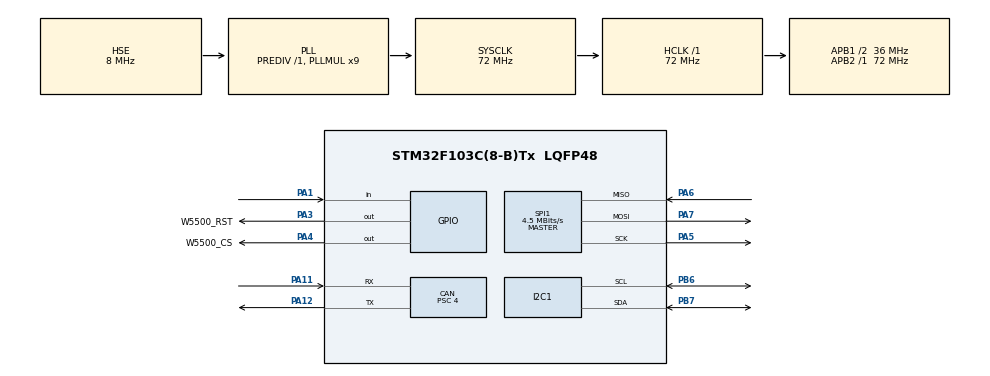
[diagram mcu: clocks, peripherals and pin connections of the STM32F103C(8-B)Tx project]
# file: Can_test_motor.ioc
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CAN.BS1=CAN_BS1_15TQ
CAN.BS2=CAN_BS2_2TQ
CAN.CalculateBaudRate=500000
CAN.CalculateTimeBit=2000
CAN.CalculateTimeQuantum=111.11111111111111
CAN.Prescaler=4
Dma.Request0=SPI1_RX
Dma.Request1=SPI1_TX
Dma.SPI1_RX.0.Direction=DMA_PERIPH_TO_MEMORY
Dma.SPI1_RX.0.Instance=DMA1_Channel2
Dma.SPI1_RX.0.MemDataAlignment=DMA_MDATAALIGN_BYTE
Dma.SPI1_RX.0.MemInc=DMA_MINC_ENABLE
Dma.SPI1_RX.0.Mode=DMA_NORMAL
Dma.SPI1_RX.0.PeriphDataAlignment=DMA_PDATAALIGN_BYTE
Dma.SPI1_RX.0.PeriphInc=DMA_PINC_DISABLE
Dma.SPI1_RX.0.Priority=DMA_PRIORITY_LOW
Dma.SPI1_TX.1.Direction=DMA_MEMORY_TO_PERIPH
Dma.SPI1_TX.1.Instance=DMA1_Channel3
Dma.SPI1_TX.1.MemDataAlignment=DMA_MDATAALIGN_BYTE
Dma.SPI1_TX.1.MemInc=DMA_MINC_ENABLE
Dma.SPI1_TX.1.Mode=DMA_NORMAL
Dma.SPI1_TX.1.PeriphDataAlignment=DMA_PDATAALIGN_BYTE
Dma.SPI1_TX.1.PeriphInc=DMA_PINC_DISABLE
Dma.SPI1_TX.1.Priority=DMA_PRIORITY_LOW
Mcu.Family=STM32F1
Mcu.Name=STM32F103C(8-B)Tx
Mcu.Package=LQFP48
NVIC.DMA1_Channel2_IRQn=true\:0\:0\:false\:false\:true\:false\:true\:true
NVIC.DMA1_Channel3_IRQn=true\:0\:0\:false\:false\:true\:false\:true\:true
NVIC.PriorityGroup=NVIC_PRIORITYGROUP_4
NVIC.USB_LP_CAN1_RX0_IRQn=true\:0\:0\:false\:false\:true\:true\:true\:true
PA1.GPIO_PuPd=GPIO_PULLUP
PA1.Signal=GPIO_Input
PA11.Mode=CAN_Activate
PA11.Signal=CAN_RX
PA12.Mode=CAN_Activate
PA12.Signal=CAN_TX
PA13.Mode=Serial_Wire
PA13.Signal=SYS_JTMS-SWDIO
PA14.Mode=Serial_Wire
PA14.Signal=SYS_JTCK-SWCLK
PA3.GPIO_Label=W5500_RST
PA3.Signal=GPIO_Output
PA4.GPIO_Label=W5500_CS
PA4.Signal=GPIO_Output
PA5.Mode=Full_Duplex_Master
PA5.Signal=SPI1_SCK
PA6.Mode=Full_Duplex_Master
PA6.Signal=SPI1_MISO
PA7.Mode=Full_Duplex_Master
PA7.Signal=SPI1_MOSI
PB6.Mode=I2C
PB6.Signal=I2C1_SCL
PB7.Mode=I2C
PB7.Signal=I2C1_SDA
PD0-OSC_IN.Mode=HSE-External-Oscillator
PD0-OSC_IN.Signal=RCC_OSC_IN
PD1-OSC_OUT.Mode=HSE-External-Oscillator
PD1-OSC_OUT.Signal=RCC_OSC_OUT
ProjectManager.HeapSize=0x200
ProjectManager.StackSize=0x400
ProjectManager.TargetToolchain=MDK-ARM V5.32
RCC.AHBFreq_Value=72000000
RCC.APB1CLKDivider=RCC_HCLK_DIV2
RCC.APB1Freq_Value=36000000
RCC.APB1TimFreq_Value=72000000
RCC.APB2Freq_Value=72000000
RCC.APB2TimFreq_Value=72000000
RCC.HCLKFreq_Value=72000000
RCC.PLLMUL=RCC_PLL_MUL9
RCC.PLLSourceVirtual=RCC_PLLSOURCE_HSE
RCC.SYSCLKFreq_VALUE=72000000
RCC.SYSCLKSource=RCC_SYSCLKSOURCE_PLLCLK
RCC.USBFreq_Value=72000000
SPI1.BaudRatePrescaler=SPI_BAUDRATEPRESCALER_16
SPI1.CalculateBaudRate=4.5 MBits/s
SPI1.Direction=SPI_DIRECTION_2LINES
SPI1.Mode=SPI_MODE_MASTER
SPI1.VirtualType=VM_MASTER
board=custom

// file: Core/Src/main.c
/* USER CODE BEGIN Header */
/**
  ******************************************************************************
  * @file           : main.c
  * @brief          : Chương trình chính STM32 + W5500 + ZLAC8015D CANopen Gateway
  ******************************************************************************
  * @attention
  *
  * Copyright (c) 2026 STMicroelectronics.
  * All rights reserved.
  *
  * This software is licensed under terms that can be found in the LICENSE file
  * in the root directory of this software component.
  * If no LICENSE file comes with this software, it is provided AS-IS.
  *
  ******************************************************************************
  */
/* USER CODE END Header */
#include "main.h"
#include "can.h"
#include "dma.h"
#include "i2c.h"
#include "spi.h"
#include "gpio.h"

/* USER CODE BEGIN Includes */
#include "zlac_can.h"       /* Driver giao tiếp động cơ ZLAC8015D qua CANopen */
#include "wizchip_conf.h"   /* Thư viện cấu hình chip mạng Ethernet WIZnet W5500 */
#include "socket.h"         /* API Socket UDP / TCP của WIZnet */
/* USER CODE END Includes */

/* USER CODE BEGIN PTD */

/* ============================================================================
 * CẤU TRÚC GÓI TIN MẠNG UDP (GIAO TIẾP VỚI MÁY TÍNH PC / ROS2)
 * ============================================================================ */
#pragma pack(push, 1)

/**
 * @brief Gói tin điều khiển vận tốc nhận từ máy tính (12 bytes)
 */
typedef struct {
    uint8_t  header[2];   /**< Header cố định: 0xAA, 0x55 */
    float    v;           /**< Vận tốc dài đặt cho robot (m/s) */
    float    omega;       /**< Vận tốc góc quay đặt cho robot (rad/s) */
    uint16_t checksum;    /**< Mã kiểm tra toàn vẹn dữ liệu CRC-16/MODBUS */
} UDP_ControlPacket_t;

/**
 * @brief Gói tin Telemetry trạng thái phản hồi về máy tính (22 bytes)
 */
typedef struct {
    uint8_t  header[2];   /**< Header cố định: 0x55, 0xAA */
    int16_t  vel_a;       /**< Vận tốc thực tế Motor A (rpm / 10) */
    int16_t  vel_b;       /**< Vận tốc thực tế Motor B (rpm / 10) */
    int32_t  pos_a;       /**< Vị trí xung Encoder Motor A */
    int32_t  pos_b;       /**< Vị trí xung Encoder Motor B */
    uint16_t error_code;  /**< Mã lỗi (0: Bình thường, 0xEEEE: Kẹt tải / Quá dòng) */
    int16_t  current_a;   /**< Dòng điện thực tế Motor A (đơn vị: 0.1A) */
    int16_t  current_b;   /**< Dòng điện thực tế Motor B (đơn vị: 0.1A) */
    uint16_t bus_voltage; /**< Điện áp DC Bus / Pin (đơn vị: 0.1V hoặc 0.01V) */
} UDP_FeedbackPacket_t;

#pragma pack(pop)

/* USER CODE END PTD */

/* USER CODE BEGIN PV */

/* ============================================================================
 * KHU VỰC 1: CÁC BIẾN QUẢN LÝ MẠNG ETHERNET W5500 & GIAO TIẾP UDP
 * ============================================================================ */
volatile uint8_t w5500_version     = 0;                /**< Phiên bản chip W5500 đọc từ thanh ghi */
uint8_t          udp_rx_buf[64];                       /**< Bộ đệm nhận UDP */
uint8_t          remote_ip[4]      = {192, 168, 1, 10}; /**< Địa chỉ IP máy tính nhận telemetry (PC / Ubuntu) */
uint16_t         remote_port       = 8888;              /**< Cổng UDP giao tiếp */
uint32_t         last_udp_rx_time  = 0;                /**< Mốc thời gian nhận gói UDP cuối (Watchdog an toàn) */
uint32_t         last_feedback_time = 0;               /**< Mốc thời gian gửi Telemetry định kỳ 50Hz (20ms) */

/* ============================================================================
 * KHU VỰC 2: CÁC BIẾN DỰ TRÙ MỞ RỘNG (GIỮ NGUYÊN)
 * ============================================================================ */
uint8_t  is_running        = 0;
uint8_t  btn_prev          = GPIO_PIN_SET; /**< Trạng thái nút nhấn chu kỳ trước (chân PA1) */
uint8_t  btn_now;                           /**< Trạng thái nút nhấn chu kỳ hiện tại */
uint8_t  mode_return       = 0;            /**< 0: Thả lỏng, 1: Chờ 1 giây, 2: Chạy về */
uint32_t stop_time         = 0;            /**< Đồng hồ bấm giờ */
uint8_t  is_motor_enabled  = 1;            /**< Nhớ trạng thái motor */
int32_t  anchor_pos_a      = 0;            /**< Mốc encoder A cho tính năng lò xo ảo */
int32_t  anchor_pos_b      = 0;            /**< Mốc encoder B cho tính năng lò xo ảo */
uint8_t  has_anchor        = 0;            /**< Cờ đã chốt mốc lò xo ảo */

/* USER CODE END PV */

void SystemClock_Config(void);
/* USER CODE BEGIN PFP */

/* Hàm tính toán kiểm tra toàn vẹn CRC-16 */
uint16_t Calculate_CRC16(const uint8_t *data, uint16_t length);

/* Các hàm callback điều khiển phần cứng W5500 qua SPI */
void    W5500_Select(void);
void    W5500_Deselect(void);
void    W5500_WriteByte(uint8_t byte);
uint8_t W5500_ReadByte(void);
void    W5500_ReadBurst(uint8_t* pBuf, uint16_t len);
void    W5500_WriteBurst(uint8_t* pBuf, uint16_t len);

/* USER CODE END PFP */

/* USER CODE BEGIN 0 */

/**
 * @brief Tính mã kiểm tra CRC-16/MODBUS (Đa thức 0xA001, Giá trị khởi tạo 0xFFFF)
 * @param data   Con trỏ mảng byte cần tính
 * @param length Độ dài mảng dữ liệu
 * @return uint16_t Giá trị CRC-16
 */
uint16_t Calculate_CRC16(const uint8_t *data, uint16_t length)
{
    uint16_t crc = 0xFFFF;
    for (uint16_t i = 0; i < length; i++)
    {
        crc ^= data[i];
        for (uint8_t j = 0; j < 8; j++)
        {
            if (crc & 0x0001)
                crc = (crc >> 1) ^ 0xA001;
            else
                crc = crc >> 1;
        }
    }
    return crc;
}

/* --- CÁC HÀM GIAO TIẾP PHẦN CỨNG SPI VỚI CHIP W5500 --- */

/** @brief Kéo chân CS xuống LOW để chọn chip W5500 */
void W5500_Select(void) {
    HAL_GPIO_WritePin(W5500_CS_GPIO_Port, W5500_CS_Pin, GPIO_PIN_RESET);
}

/** @brief Kéo chân CS lên HIGH để bỏ chọn chip W5500 */
void W5500_Deselect(void) {
    HAL_GPIO_WritePin(W5500_CS_GPIO_Port, W5500_CS_Pin, GPIO_PIN_SET);
}

/** @brief Gửi 1 byte qua SPI */
void W5500_WriteByte(uint8_t byte) {
    uint8_t rx_data;
    HAL_SPI_TransmitReceive(&hspi1, &byte, &rx_data, 1, HAL_MAX_DELAY);
}

/** @brief Đọc 1 byte từ W5500 qua SPI bằng cách phát 1 byte Dummy 0xFF */
uint8_t W5500_ReadByte(void) {
    uint8_t tx_data = 0xFF;
    uint8_t rx_data = 0;
    HAL_SPI_TransmitReceive(&hspi1, &tx_data, &rx_data, 1, HAL_MAX_DELAY);
    return rx_data;
}

/** @brief Đọc một chuỗi byte liên tục (Burst Read) */
void W5500_ReadBurst(uint8_t* pBuf, uint16_t len) {
    HAL_SPI_Receive(&hspi1, pBuf, len, 100);
}

/** @brief Ghi một chuỗi byte liên tục (Burst Write) */
void W5500_WriteBurst(uint8_t* pBuf, uint16_t len) {
    HAL_SPI_Transmit(&hspi1, pBuf, len, 100);
}

/* USER CODE END 0 */

int main(void)
{

  /* MCU Configuration--------------------------------------------------------*/

  /* Reset of all peripherals, Initializes the Flash interface and the Systick. */
  HAL_Init();

  /* Configure the system clock */
  SystemClock_Config();

  /* Initialize all configured peripherals */
  MX_GPIO_Init();
  MX_DMA_Init();
  MX_CAN_Init();
  MX_I2C1_Init();
  MX_SPI1_Init();

  /* USER CODE BEGIN 2 */

  /* ============================================================================
   * BƯỚC 1: KHỞI ĐỘNG PHẦN CỨNG MODULE ETHERNET W5500
   * ============================================================================ */
  HAL_GPIO_WritePin(W5500_CS_GPIO_Port, W5500_CS_Pin, GPIO_PIN_SET);
  HAL_GPIO_WritePin(W5500_RST_GPIO_Port, W5500_RST_Pin, GPIO_PIN_RESET);
  HAL_Delay(10);
  HAL_GPIO_WritePin(W5500_RST_GPIO_Port, W5500_RST_Pin, GPIO_PIN_SET);
  HAL_Delay(50); /* Chờ W5500 hoàn tất chu trình nạp nội bộ */

  /* ============================================================================
   * BƯỚC 2: ĐĂNG KÝ HÀM GIAO TIẾP SPI CHO THƯ VIỆN WIZNET
   * ============================================================================ */
  reg_wizchip_cs_cbfunc(W5500_Select, W5500_Deselect);
  reg_wizchip_spi_cbfunc(W5500_ReadByte, W5500_WriteByte);
  reg_wizchip_spiburst_cbfunc(W5500_ReadBurst, W5500_WriteBurst);

  /* ============================================================================
   * BƯỚC 3: CẤU HÌNH THÔNG SỐ MẠNG TĨNH CHO STM32 (IP: 192.168.1.100)
   * ============================================================================ */
  wiz_NetInfo net_info = {
      .mac  = {0x00, 0x08, 0xDC, 0x55, 0x66, 0x77}, /* Địa chỉ MAC */
      .ip   = {192, 168, 1, 100},                   /* Địa chỉ IP STM32 */
      .sn   = {255, 255, 255, 0},                   /* Subnet Mask */
      .gw   = {192, 168, 1, 1},                     /* Gateway */
      .dns  = {8, 8, 8, 8},                         /* DNS Server */
      .dhcp = NETINFO_STATIC                        /* Chế độ IP tĩnh */
  };
  wizchip_setnetinfo(&net_info);
  w5500_version = getVERSIONR();

  /* ============================================================================
   * BƯỚC 4: KHỞI TẠO SOCKET UDP (SOCKET 0, PORT 8888)
   * ============================================================================ */
  socket(0, Sn_MR_UDP, 8888, 0);

  /* ============================================================================
   * BƯỚC 5: KHỞI TẠO DRIVER GIAO TIẾP CANOPEN CHO ZLAC8015D
   * ============================================================================ */
  ZLAC_CAN_Init();

  /*
   * GHI CHÚ: Khối cấu hình CAN thủ công cũ trước đây:
   * Hiện tại toàn bộ quy trình cấu hình Node, chuyển Mode 3, và Enable Servo
   * đã được tự động hóa hoàn toàn và tin cậy trong ZLAC_StateMachine().
   *
   * // NMT_Send(1, 0x01);
   * // SDO_Write(1, 0x6060, 0x00, 3, 1);
   * // SDO_Write(1, 0x6040, 0x00, 0x0006, 2);
   * // SDO_Write(1, 0x6040, 0x00, 0x0007, 2);
   * // SDO_Write(1, 0x6040, 0x00, 0x000F, 2);
   */

  /* ============================================================================
   * BƯỚC 6: RESET TỌA ĐỘ ODOMETRY VỀ MỐC GỐC BAN ĐẦU
   * ============================================================================ */
  ZLAC_Odom_Reset();

  /* USER CODE END 2 */

  /* Infinite loop */
  while (1)
  {

    /* USER CODE BEGIN 3 */

    /* --------------------------------------------------------------------------
     * NHIỆM VỤ 1: STATE MACHINE QUẢN LÝ ĐỘNG CƠ & BẢO VỆ KẸT TẢI / QUÁ DÒNG
     * -------------------------------------------------------------------------- */
    ZLAC_StateMachine();

    /* --------------------------------------------------------------------------
     * NHIỆM VỤ 2: ĐỊNH KỲ 1 HZ (1 GIÂY) ĐỌC ĐIỆN ÁP DC BUS / PIN QUA SDO
     * -------------------------------------------------------------------------- */
    static uint32_t last_vbus_poll_time = 0;
    if (HAL_GetTick() - last_vbus_poll_time >= 1000)
    {
      last_vbus_poll_time = HAL_GetTick();
      if (ZLAC_IsReady())
      {
        SDO_Read_Request(ZLAC_NODE_ID, 0x2035, 0x00);
      }
    }

    /* --------------------------------------------------------------------------
     * NHIỆM VỤ 2.1: KIỂM TRA & TỰ PHỤC HỒI SOCKET UDP NẾU BỊ ĐÓNG (ETHERNET RECONNECT)
     * -------------------------------------------------------------------------- */
    static uint32_t last_sock_check_time = 0;
    if (HAL_GetTick() - last_sock_check_time >= 500)
    {
      last_sock_check_time = HAL_GetTick();
      if (getSn_SR(0) != SOCK_UDP)
      {
        close(0);
        socket(0, Sn_MR_UDP, 8888, 0);
      }
    }

    /* --------------------------------------------------------------------------
     * NHIỆM VỤ 3: KIỂM TRA & TIẾP NHẬN GÓI ĐIỀU KHIỂN UDP TỪ MÁY TÍNH
     * -------------------------------------------------------------------------- */
    uint16_t rx_len = getSn_RX_RSR(0);
    if (rx_len >= sizeof(UDP_ControlPacket_t))
    {
      UDP_ControlPacket_t cmd_pkt;
      /* Đọc gói tin từ W5500 */
      recvfrom(0, (uint8_t*)&cmd_pkt, sizeof(UDP_ControlPacket_t), remote_ip, &remote_port);

      /* Kiểm tra Header hợp lệ (0xAA 0x55) */
      if (cmd_pkt.header[0] == 0xAA && cmd_pkt.header[1] == 0x55)
      {
        /* Tính CRC16 của 10 bytes payload (Header + v + omega) */
        uint16_t expected_crc = Calculate_CRC16((uint8_t*)&cmd_pkt, 10);

        /* So khớp CRC */
        if (expected_crc == cmd_pkt.checksum)
        {
          last_udp_rx_time = HAL_GetTick(); /* Reset Watchdog an toàn */
          if (ZLAC_IsReady())
          {
            ZLAC_SetSpeed_mps(cmd_pkt.v, cmd_pkt.omega);
          }
        }
      }
    }

    /* --------------------------------------------------------------------------
     * NHIỆM VỤ 4: WATCHDOG AN TOÀN MẠNG (MẤT KẾT NỐI > 250MS -> PHANH DỪNG XE)
     * -------------------------------------------------------------------------- */
    if (HAL_GetTick() - last_udp_rx_time > 250)
    {
      ZLAC_Stop();
    }

    /* --------------------------------------------------------------------------
     * NHIỆM VỤ 5: ĐỊNH KỲ 50 HZ (20MS) GỬI TELEMETRY VÀ BẮN LỆNH SYNC (0x080)
     * -------------------------------------------------------------------------- */
    if (HAL_GetTick() - last_feedback_time >= 20)
    {
      /* Cập nhật mốc thời gian cố định (+20ms) để triệt tiêu sai số chu kỳ (jitter) */
      last_feedback_time += 20;
      if (HAL_GetTick() - last_feedback_time > 100) last_feedback_time = HAL_GetTick();

      /* 5.1 Gửi lệnh SYNC (CAN ID 0x080, DLC=0) đòi dữ liệu từ ZLAC8015D */
      extern CAN_HandleTypeDef hcan;
      CAN_TxHeaderTypeDef sync_hdr;
      uint32_t sync_mailbox;
      sync_hdr.StdId = 0x080;
      sync_hdr.ExtId = 0;
      sync_hdr.IDE   = CAN_ID_STD;
      sync_hdr.RTR   = CAN_RTR_DATA;
      sync_hdr.DLC   = 0;
      HAL_CAN_AddTxMessage(&hcan, &sync_hdr, NULL, &sync_mailbox);

      /* 5.2 Đóng gói 22 bytes Telemetry gửi về máy tính */
      UDP_FeedbackPacket_t fb_pkt;
      fb_pkt.header[0]   = 0x55;
      fb_pkt.header[1]   = 0xAA;
      fb_pkt.vel_a       = zlac_fb.vel_a;
      fb_pkt.vel_b       = zlac_fb.vel_b;
      fb_pkt.pos_a       = zlac_fb.pos_a;
      fb_pkt.pos_b       = zlac_fb.pos_b;
      fb_pkt.error_code  = zlac_fb.error_code;
      fb_pkt.current_a   = zlac_fb.current_a;
      fb_pkt.current_b   = zlac_fb.current_b;
      fb_pkt.bus_voltage = zlac_fb.bus_voltage;
      sendto(0, (uint8_t*)&fb_pkt, sizeof(UDP_FeedbackPacket_t), remote_ip, remote_port);
    }

    /* Nhường chu kỳ CPU */
    HAL_Delay(1);
  }
  /* USER CODE END 3 */
}

void SystemClock_Config(void)
{
  RCC_OscInitTypeDef RCC_OscInitStruct = {0};
  RCC_ClkInitTypeDef RCC_ClkInitStruct = {0};

  /** Initializes the RCC Oscillators according to the specified parameters
  * in the RCC_OscInitTypeDef structure.
  */
  RCC_OscInitStruct.OscillatorType = RCC_OSCILLATORTYPE_HSE;
  RCC_OscInitStruct.HSEState = RCC_HSE_ON;
  RCC_OscInitStruct.HSEPredivValue = RCC_HSE_PREDIV_DIV1;
  RCC_OscInitStruct.HSIState = RCC_HSI_ON;
  RCC_OscInitStruct.PLL.PLLState = RCC_PLL_ON;
  RCC_OscInitStruct.PLL.PLLSource = RCC_PLLSOURCE_HSE;
  RCC_OscInitStruct.PLL.PLLMUL = RCC_PLL_MUL9;
  if (HAL_RCC_OscConfig(&RCC_OscInitStruct) != HAL_OK)
  {
    Error_Handler();
  }

  /** Initializes the CPU, AHB and APB buses clocks
  */
  RCC_ClkInitStruct.ClockType = RCC_CLOCKTYPE_HCLK|RCC_CLOCKTYPE_SYSCLK
                              |RCC_CLOCKTYPE_PCLK1|RCC_CLOCKTYPE_PCLK2;
  RCC_ClkInitStruct.SYSCLKSource = RCC_SYSCLKSOURCE_PLLCLK;
  RCC_ClkInitStruct.AHBCLKDivider = RCC_SYSCLK_DIV1;
  RCC_ClkInitStruct.APB1CLKDivider = RCC_HCLK_DIV2;
  RCC_ClkInitStruct.APB2CLKDivider = RCC_HCLK_DIV1;

  if (HAL_RCC_ClockConfig(&RCC_ClkInitStruct, FLASH_LATENCY_2) != HAL_OK)
  {
    Error_Handler();
  }
}

void Error_Handler(void)
{
  __disable_irq();
  while (1)
  {
  }
}
